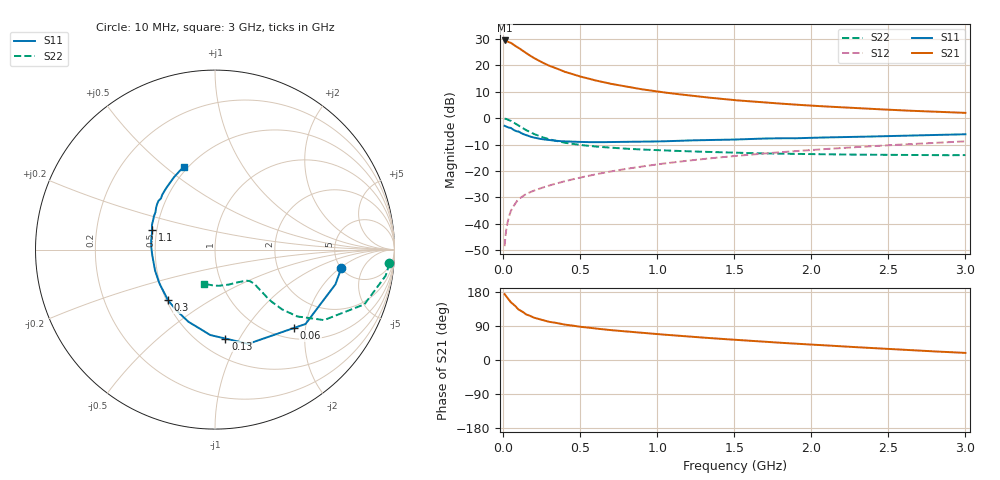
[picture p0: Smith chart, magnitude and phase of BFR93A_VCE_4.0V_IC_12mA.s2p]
! Infineon Technologies  Discrete & RF Semiconductors
! BFR93A
! VCE =  4.0 V,  IC =  12 mA
! Common Emitter S-Parameters:  Nov 2015
# GHz  S  MA  R  50
!  f  S11  S21  S12  S22
! GHz  MAG  ANG  MAG  ANG  MAG  ANG  MAG  ANG
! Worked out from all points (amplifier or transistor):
!   180 points, 10 MHz to 3 GHz, reference 50 ohm
!   highest |S21| = 29.3 dB at 10 MHz (marker M1)
!   |S21| within 3 dB of that: start of sweep to 105.8 MHz
!   unconditionally stable (mu >= 1): 536.2 MHz to 2.75 GHz
!   at 160 MHz: K = 0.56, MSG = 26.3 dB, |S12| = -28.4 dB
!   at 1.22 GHz: K = 1.09, MAG = 10.4 dB, |S12| = -16.0 dB
!   at 3 GHz: K = 0.98, MSG = 5.4 dB, |S12| = -8.8 dB
!   S11 on the Smith chart (normalised r, x): 10 MHz: 5.06, -2.08; 60 MHz: 1.22, -1.73; 130 MHz: 0.66, -0.88; 300 MHz: 0.51, -0.34; 1.1 GHz: 0.47, +0.12; 3 GHz: 0.48, +0.58
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0.01  0.712 -8.2  29.18 173.8  0.0038 85.4  0.9752 -4.5
0.02  0.6982 -16.1  28.73 168.1  0.0076 81.8  0.9619 -8.7
0.05  0.6528 -39.4  26.38 152.5  0.0175 72.6  0.8861 -20.2
0.06  0.6202 -44.7  25.15 149.3  0.0198 69.7  0.8506 -22.3
0.1  0.5568 -70.6  21.22 133.3  0.0293 62.6  0.7233 -32.9
0.13  0.4992 -83.3  18.43 126.2  0.0337 59.9  0.6426 -36.3
0.15  0.4768 -93.1  16.77 120.3  0.0367 58.4  0.5903 -39.1
0.2  0.4286 -110.2  13.62 111.8  0.0425 57.8  0.5008 -41.7
0.24  0.404 -120.4  11.79 106.9  0.0467 57.9  0.4513 -42.4
0.26  0.396 -125.0  11.01 104.6  0.0489 58.1  0.4303 -42.6
0.3  0.3844 -133.0  9.704 100.7  0.0531 59.0  0.3959 -42.6
0.4  0.3625 -148.8  7.474 93.4  0.0639 60.9  0.3411 -41.9
0.52  0.3524 -162.3  5.89 86.9  0.0772 62.4  0.3058 -41.3
0.6  0.3502 -169.4  5.126 83.0  0.0862 63.2  0.289 -41.1
0.7  0.3517 -176.4  4.427 78.8  0.098 63.7  0.2749 -41.4
0.88  0.3583 172.8  3.573 72.4  0.1189 63.9  0.2559 -43.0
1.02  0.3619 166.1  3.112 67.7  0.1354 63.4  0.2466 -44.8
1.1  0.3674 162.5  2.904 65.2  0.1449 63.2  0.2414 -46.4
1.52  0.3937 147.2  2.155 52.9  0.1937 60.1  0.2207 -56.0
2.02  0.4252 133.4  1.702 40.3  0.2513 55.5  0.2076 -70.6
2.52  0.457 121.4  1.426 28.8  0.3081 49.8  0.2013 -88.0
3  0.4933 110.4  1.252 18.7  0.3623 44.2  0.1997 -108.7
